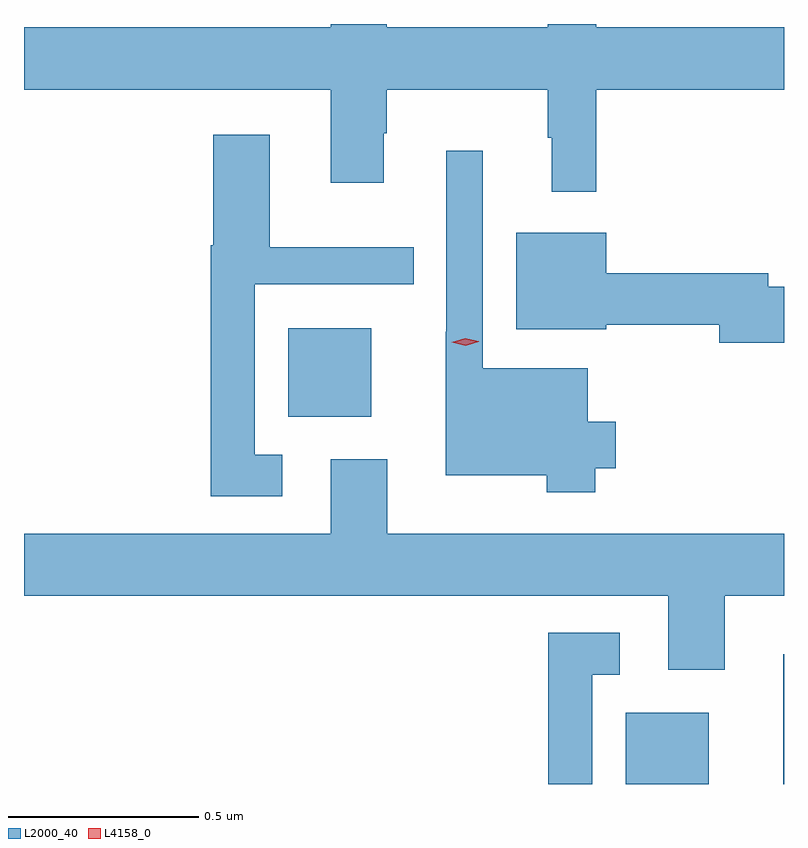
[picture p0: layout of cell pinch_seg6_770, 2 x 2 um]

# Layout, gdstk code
import gdstk
lib = gdstk.Library(unit=1e-6, precision=1e-09)
def R(c, l, rs):  # rectangles x0, y0, x1, y1
    for r in rs: c.add(gdstk.rectangle(r[:2], r[2:], *l))
def P(c, l, *ps):  # polygons
    for p in ps: c.add(gdstk.Polygon(p, *l))
L2000_40 = (2000, 40)
L4158_0 = (4158, 0)

pinch_seg6_770 = lib.new_cell('pinch_seg6_770')
R(pinch_seg6_770, L2000_40, [(506.978,940.181,507.196,940.369), (507.392,940.181,507.394,940.522), (506.09,941.147,506.308,941.38)])
P(pinch_seg6_770, L2000_40, [(506.9,942.008),(507.394,942.008),(507.394,942.172),(506.9,942.172),(506.9,942.181),(506.772,942.181),(506.772,942.172),(506.349,942.172),(506.349,942.181),(506.201,942.181),(506.201,942.172),(505.394,942.172),(505.394,942.008),(506.201,942.008),(506.201,941.763),(506.341,941.763),(506.341,941.894),(506.349,941.894),(506.349,942.008),(506.772,942.008),(506.772,941.882),(506.783,941.882),(506.783,941.739),(506.9,941.739)],
  [(506.074,941.047),(506.001,941.047),(506.001,941.496),(506.42,941.496),(506.42,941.593),(506.041,941.593),(506.041,941.89),(505.892,941.89),(505.892,941.599),(505.885,941.599),(505.885,940.938),(506.074,940.938)],
  [(506.897,941.012),(506.951,941.012),(506.951,941.134),(506.878,941.134),(506.878,941.275),(506.601,941.275),(506.601,941.848),(506.505,941.848),(506.505,941.371),(506.504,941.371),(506.504,940.994),(506.769,940.994),(506.769,940.949),(506.897,940.949)],
  [(507.394,941.489),(507.352,941.489),(507.352,941.525),(506.926,941.525),(506.926,941.632),(506.69,941.632),(506.69,941.378),(506.926,941.378),(506.926,941.389),(507.224,941.389),(507.224,941.342),(507.394,941.342)],
  [(507.238,940.676),(507.394,940.676),(507.394,940.84),(506.35,940.84),(506.35,941.035),(506.201,941.035),(506.201,940.84),(505.394,940.84),(505.394,940.676),(507.089,940.676),(507.089,940.482),(507.238,940.482)],
  [(506.889,940.469),(506.962,940.469),(506.962,940.579),(506.773,940.579),(506.773,940.181),(506.889,940.181)])
P(pinch_seg6_770, L4158_0, [(506.556,941.334),(506.52,941.343),(506.519,941.343),(506.52,941.343),(506.555,941.354),(506.591,941.346),(506.591,941.346),(506.591,941.345)])

lib.write_gds('pinch_seg6_770.gds')
